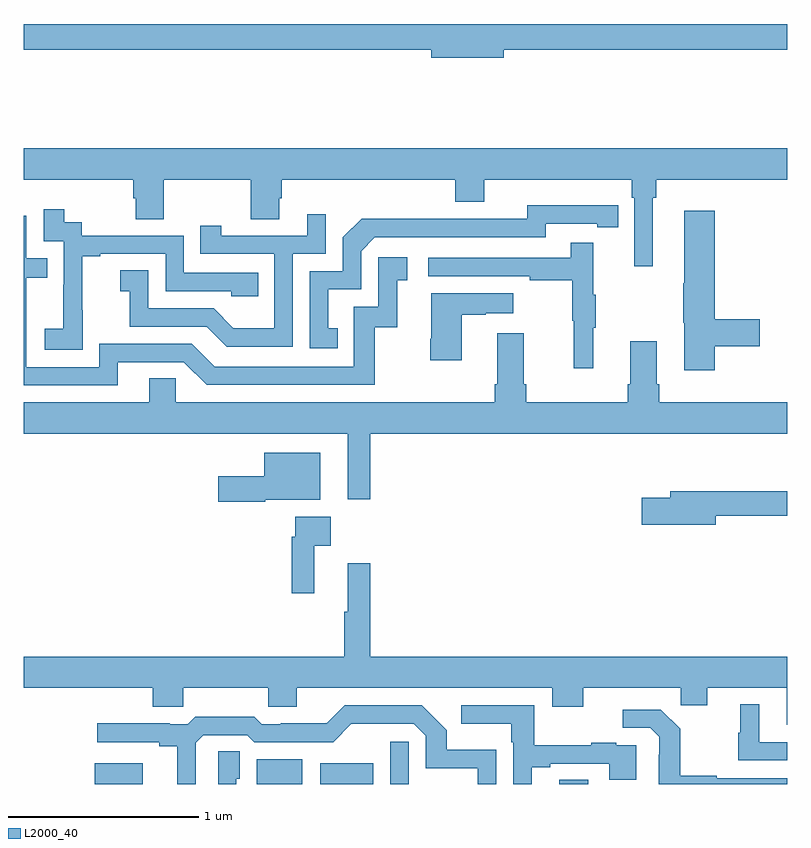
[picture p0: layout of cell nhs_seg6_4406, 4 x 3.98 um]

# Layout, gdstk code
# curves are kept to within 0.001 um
import gdstk
lib = gdstk.Library(unit=1e-6, precision=1e-09)
def R(c, l, rs):  # rectangles x0, y0, x1, y1
    for r in rs: c.add(gdstk.rectangle(r[:2], r[2:], *l))
def P(c, l, *ps):  # polygons
    for p in ps: c.add(gdstk.Polygon(p, *l))
L2000_40 = (2000, 40)

nhs_seg6_4406 = lib.new_cell('nhs_seg6_4406')
R(nhs_seg6_4406, L2000_40, [(371.372,945.5,371.623,945.61), (372.221,945.5,372.46,945.631), (372.554,945.5,372.832,945.61), (372.921,945.5,373.017,945.721), (373.805,945.5,373.957,945.521)])
P(nhs_seg6_4406, L2000_40, [(373.516,949.348),(375,949.348),(375,949.484),(371,949.484),(371,949.348),(373.136,949.348),(373.136,949.306),(373.516,949.306)],
  [(371,948.668),(371.573,948.668),(371.573,948.57),(371.585,948.57),(371.585,948.46),(371.733,948.46),(371.733,948.668),(372.19,948.668),(372.19,948.46),(372.337,948.46),(372.337,948.57),(372.35,948.57),(372.35,948.668),(373.262,948.668),(373.262,948.551),(373.414,948.551),(373.414,948.668),(374.186,948.668),(374.186,948.572),(374.199,948.572),(374.199,948.213),(374.296,948.213),(374.296,948.572),(374.315,948.572),(374.315,948.668),(375,948.668),(375,948.832),(371,948.832)],
  [(372.644,947.889),(372.595,947.889),(372.595,948.093),(372.768,948.093),(372.768,948.294),(372.84,948.366),(373.734,948.366),(373.734,948.438),(374.006,948.438),(374.006,948.418),(374.114,948.418),(374.114,948.534),(373.638,948.535),(373.638,948.462),(373.178,948.462),(373.178,948.464),(372.77,948.464),(372.672,948.366),(372.672,948.189),(372.498,948.189),(372.498,947.784),(372.644,947.784)],
  [(371.307,947.983),(371.306,947.983),(371.306,948.267),(371.401,948.267),(371.401,948.279),(371.742,948.279),(371.742,948.084),(372.087,948.084),(372.087,948.057),(372.227,948.057),(372.227,948.18),(371.838,948.18),(371.838,948.375),(371.304,948.375),(371.304,948.444),(371.212,948.444),(371.212,948.514),(371.103,948.514),(371.103,948.345),(371.208,948.345),(371.208,948.116),(371.207,948.116),(371.207,947.887),(371.109,947.887),(371.109,947.777),(371.307,947.777)],
  [(374.621,947.794),(374.857,947.794),(374.857,947.936),(374.621,947.936),(374.621,948.505),(374.462,948.505),(374.462,948.125),(374.455,948.125),(374.455,947.919),(374.462,947.919),(374.462,947.67),(374.621,947.67)],
  [(372.408,948.279),(372.582,948.279),(372.582,948.487),(372.485,948.487),(372.485,948.375),(372.034,948.375),(372.034,948.427),(371.923,948.427),(371.923,948.279),(372.312,948.279),(372.312,947.89),(372.098,947.89),(371.994,947.994),(371.652,947.994),(371.652,948.193),(371.505,948.193),(371.505,948.083),(371.554,948.083),(371.554,947.898),(371.957,947.898),(372.062,947.793),(372.408,947.793)],
  [(371.491,947.712),(371.838,947.712),(371.958,947.592),(372.838,947.592),(372.838,947.895),(372.956,947.895),(372.956,948.141),(373.009,948.141),(373.009,948.262),(372.858,948.262),(372.858,948.003),(372.729,948.003),(372.729,947.688),(372,947.688),(371.88,947.808),(371.394,947.808),(371.394,947.685),(371.013,947.685),(371.013,948.154),(371.123,948.154),(371.123,948.255),(371.013,948.255),(371.013,948.48),(371,948.48),(371,947.589),(371.491,947.589)],
  [(373.985,947.891),(373.996,947.891),(373.996,948.065),(373.985,948.065),(373.985,948.337),(373.867,948.337),(373.867,948.258),(373.119,948.258),(373.119,948.162),(373.651,948.162),(373.651,948.142),(373.875,948.142),(373.875,947.928),(373.882,947.928),(373.882,947.679),(373.985,947.679)],
  [(373.294,947.959),(373.421,947.959),(373.421,947.969),(373.564,947.969),(373.564,948.073),(373.136,948.073),(373.136,947.833),(373.129,947.833),(373.129,947.721),(373.294,947.721)],
  [(375,947.5),(374.33,947.5),(374.33,947.596),(374.317,947.596),(374.317,947.821),(374.177,947.821),(374.177,947.596),(374.165,947.596),(374.165,947.5),(373.634,947.5),(373.634,947.596),(373.621,947.596),(373.621,947.863),(373.481,947.863),(373.481,947.596),(373.469,947.596),(373.469,947.5),(371.796,947.5),(371.796,947.627),(371.657,947.627),(371.657,947.5),(371,947.5),(371,947.336),(372.698,947.336),(372.698,946.992),(372.815,946.992),(372.815,947.336),(375,947.336)],
  [(372.264,946.991),(372.553,946.991),(372.553,947.236),(372.26,947.236),(372.26,947.113),(372.018,947.113),(372.018,946.979),(372.264,946.979)],
  [(374.626,946.906),(375,946.906),(375,947.035),(374.387,947.035),(374.387,947.001),(374.238,947.001),(374.238,946.859),(374.626,946.859)],
  [(372.521,946.748),(372.607,946.748),(372.607,946.9),(372.423,946.9),(372.423,946.796),(372.403,946.796),(372.403,946.5),(372.521,946.5)],
  [(375,946.168),(372.815,946.168),(372.815,946.657),(372.698,946.657),(372.698,946.404),(372.679,946.404),(372.679,946.168),(371,946.168),(371,946.004),(371.675,946.004),(371.675,945.906),(371.835,945.906),(371.835,946.004),(372.28,946.004),(372.28,945.906),(372.43,945.906),(372.43,946.004),(373.769,946.004),(373.769,945.905),(373.933,945.905),(373.933,946.004),(374.443,946.004),(374.443,945.914),(374.581,945.914),(374.581,946.004),(374.999,946.004),(374.999,945.81),(375,945.81)],
  [(375,945.72),(374.854,945.72),(374.854,945.919),(374.756,945.919),(374.756,945.768),(374.745,945.768),(374.745,945.624),(375,945.624)],
  [(371.901,945.717),(371.94,945.756),(372.171,945.756),(372.207,945.72),(372.621,945.72),(372.716,945.815),(373.044,945.816),(373.107,945.753),(373.107,945.582),(373.38,945.582),(373.38,945.5),(373.476,945.5),(373.476,945.679),(373.215,945.679),(373.215,945.782),(373.084,945.912),(372.681,945.912),(372.587,945.818),(372.346,945.818),(372.346,945.813),(372.246,945.813),(372.207,945.853),(371.899,945.853),(371.859,945.813),(371.765,945.813),(371.765,945.818),(371.385,945.818),(371.385,945.72),(371.708,945.72),(371.708,945.698),(371.804,945.698),(371.804,945.5),(371.901,945.5)],
  [(373.663,945.588),(373.759,945.588),(373.759,945.606),(374.069,945.606),(374.069,945.522),(374.209,945.522),(374.209,945.702),(374.105,945.702),(374.105,945.715),(373.973,945.715),(373.973,945.704),(373.675,945.704),(373.675,945.912),(373.293,945.912),(373.293,945.815),(373.554,945.815),(373.554,945.719),(373.566,945.719),(373.566,945.5),(373.663,945.5)],
  [(375,945.531),(374.631,945.531),(374.631,945.544),(374.439,945.544),(374.439,945.789),(374.339,945.889),(374.139,945.889),(374.139,945.795),(374.283,945.795),(374.33,945.748),(374.33,945.653),(374.328,945.653),(374.328,945.5),(375,945.5)],
  [(372.114,945.528),(372.13,945.528),(372.13,945.671),(372.018,945.671),(372.018,945.5),(372.114,945.5)])

lib.write_gds('nhs_seg6_4406.gds')
